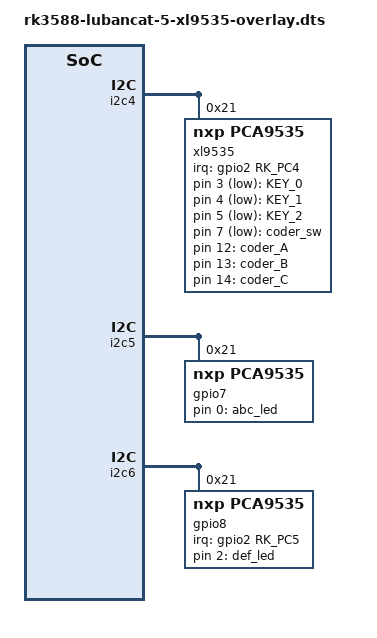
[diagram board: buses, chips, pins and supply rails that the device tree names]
/dts-v1/;
/plugin/;

#include <dt-bindings/gpio/gpio.h>
#include <dt-bindings/pinctrl/rockchip.h>
#include <dt-bindings/interrupt-controller/irq.h>
#include <dt-bindings/input/linux-event-codes.h>

/ {

	fragment@0 {
		target = <&i2c4>;
		
		__overlay__ {
			status = "okay";
			#address-cells = <1>;
			#size-cells = <0>;
			pinctrl-names = "default";
			pinctrl-0 = <&i2c4m3_xfer>;
			
			xl9535: xl9535@21 {
				compatible = "nxp,pca9535";
				status = "okay";
				reg = <0x21>;
				gpio-controller;
				#gpio-cells = <2>;
				pinctrl-names = "default";
				pinctrl-0 = <&pinctrl_gpio6>;
				interrupt-parent = <&gpio2>;
				interrupts = <RK_PC4 IRQ_TYPE_LEVEL_LOW>;
				interrupt-controller;
				#interrupt-cells = <2>;
			};
		};
	};

	fragment@1 {
		target = <&i2c5>;
		
		__overlay__ {
			status = "okay";
            #address-cells = <1>;
			#size-cells = <0>;
            pinctrl-names = "default";
			pinctrl-0 = <&i2c5m2_xfer>;
			
			gpio7: gpio-expander@21 {
				compatible = "nxp,pca9535";
				status = "okay";
				reg = <0x21>;
				gpio-controller;
				#gpio-cells = <2>;
				// pinctrl-names = "default";
				// pinctrl-0 = <&pinctrl_gpio6>;
				// interrupt-parent = <&gpio2>;
				// interrupts = <RK_PC4 IRQ_TYPE_LEVEL_HIGH>;
				// interrupt-controller;
				// #interrupt-cells = <2>;
			};
		};
	};
	
	fragment@2 {
		target = <&i2c6>;
		
		__overlay__ {
			status = "okay";
            #address-cells = <1>;
			#size-cells = <0>;
			pinctrl-names = "default";
			pinctrl-0 = <&i2c6m0_xfer>;
			
			gpio8: gpio-expander@21 {
				compatible = "nxp,pca9535";
				status = "okay";
				reg = <0x21>;
				gpio-controller;
				#gpio-cells = <2>;
				pinctrl-names = "default";
				pinctrl-0 = <&pinctrl_gpio8>;
				interrupt-parent = <&gpio2>;
				interrupts = <RK_PC5 IRQ_TYPE_LEVEL_LOW>;
				interrupt-controller;
				#interrupt-cells = <2>;
			};
		};
	};
	
	fragment@3 {
		target-path = "/";

		__overlay__ {
			leds: leds {
				status = "okay";
				compatible = "gpio-leds";

				abc_led: abc-led {
					label = "abc_led";
					linux,default-trigger = "heartbeat";
					default-state = "on";
					gpios = <&gpio7 0 GPIO_ACTIVE_HIGH>;
				};

				def_led: def-led {
					label = "def_led";
					linux,default-trigger = "heartbeat";
					default-state = "on";
					gpios = <&gpio8 2 GPIO_ACTIVE_HIGH>;
				};
			};
		};
	};
    
	fragment@4 {
		target-path = "/";

		__overlay__ {
			Keys {
				compatible = "gpio-keys";
				pinctrl-names = "default";
				#address-cells = <1>;
				#size-cells = <0>;
				status = "okay";
				//autorepeat;
				Key0 {
					label = "KEY_0";
					linux,code=<KEY_0>;
					gpio-hog;
					gpios = <&xl9535 3 GPIO_ACTIVE_LOW>;
					interrupt-parent = <&xl9535>;
					interrupts = <3 IRQ_TYPE_LEVEL_LOW>;
				};
				
				Key1 {
					label = "KEY_1";
					linux,code=<KEY_1>;
					gpio-hog;
					gpios = <&xl9535 4 GPIO_ACTIVE_LOW>;
					interrupt-parent = <&xl9535>;
					interrupts = <4 IRQ_TYPE_LEVEL_LOW>;
				};
				
				Key2 {
					label = "KEY_2";
					linux,code=<KEY_2>;
					gpio-hog;
					gpios = <&xl9535 5 GPIO_ACTIVE_LOW>;
					interrupt-parent = <&xl9535>;
					interrupts = <5 IRQ_TYPE_LEVEL_LOW>;
				};
			};
			
			Coder_sw {
				compatible = "gpio-keys";
				status = "okay";
				#address-cells = <1>;
				#size-cells = <0>;
				coder_sw {
					label = "coder_sw";
					linux,code=<KEY_3>;
					debounce-interval = <5>;
					gpios = <&xl9535 7 GPIO_ACTIVE_LOW>;
					interrupt-parent = <&xl9535>;
					interrupts = <7 IRQ_TYPE_LEVEL_LOW>;
				};
			};
			
			Coder_A {
				compatible = "gpio-keys";
				status = "okay";
				#address-cells = <1>;
				#size-cells = <0>;
				coder_A {
					label = "coder_A";
					linux,code=<250>;
					debounce-interval = <1>;
					gpios = <&xl9535 12 GPIO_ACTIVE_HIGH>;
					interrupt-parent = <&xl9535>;
					interrupts = <12 IRQ_TYPE_EDGE_RISING>;
				};
			};
			
			Coder_B {
				compatible = "gpio-keys";
				status = "okay";
				#address-cells = <1>;
				#size-cells = <0>;
				coder_B {
					label = "coder_B";
					linux,code=<251>;
					debounce-interval = <1>;
					gpios = <&xl9535 13 GPIO_ACTIVE_HIGH>;
					interrupt-parent = <&xl9535>;
					interrupts = <13 IRQ_TYPE_EDGE_RISING>;
				};
			};

			Coder_C {
				compatible = "gpio-keys";
				status = "okay";
				#address-cells = <1>;
				#size-cells = <0>;
				coder_C {
					label = "coder_C";
					linux,code=<252>;
					debounce-interval = <1>;
					gpios = <&xl9535 14 GPIO_ACTIVE_HIGH>;
					interrupt-parent = <&xl9535>;
					interrupts = <14 IRQ_TYPE_EDGE_RISING>;
				};
			};
		};
	};
	
	/*
	fragment@5 {
		target-path = "/";
		__overlay__ {
			dht11{
				#address-cells = <1>;
				#size-cells = <1>;
				compatible = "fire,temphum_dht11";
				linux,open-drain;
				dht11_pin = <&gpio8 1 GPIO_ACTIVE_HIGH>;
				status = "okay";
			};
		};
	};
	*/

	fragment@5 {
		target = <&pinctrl>;

		__overlay__ {
			gpio7 {
				pinctrl_gpio7:pinctrl_gpio7 {
					rockchip,pins =
					<2 RK_PC4 RK_FUNC_GPIO &pcfg_pull_up>;
				};
			};

			gpio8 {
				pinctrl_gpio8:pinctrl_gpio8 {
					rockchip,pins =
					<2 RK_PC5 RK_FUNC_GPIO &pcfg_pull_up>;
				};
			};
		};
	};
};

